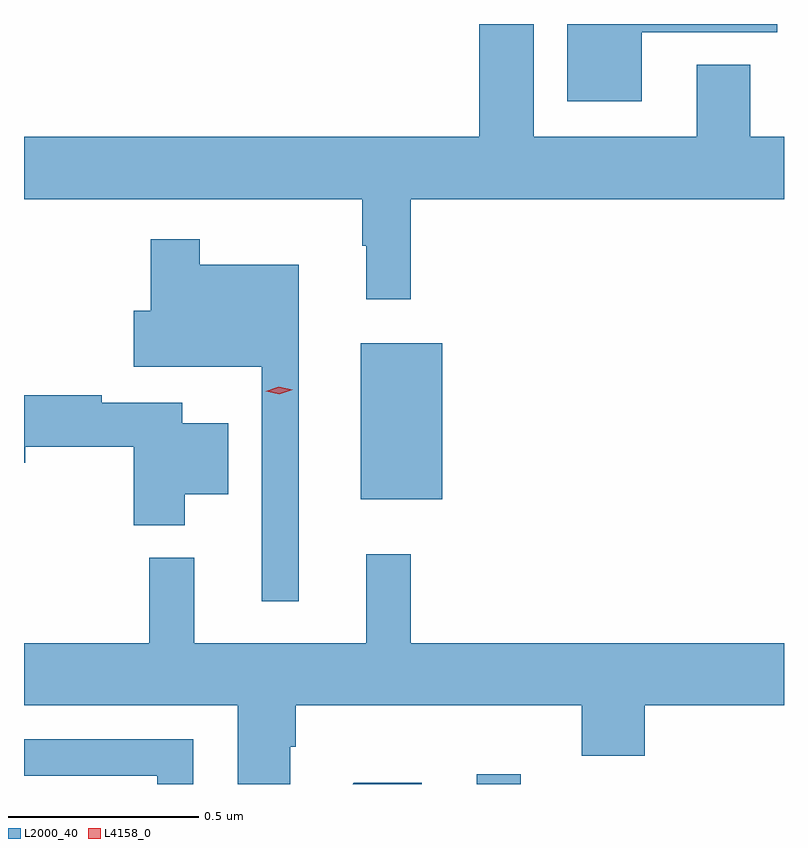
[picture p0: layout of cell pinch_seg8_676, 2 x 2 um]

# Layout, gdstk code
import gdstk
lib = gdstk.Library(unit=1e-6, precision=1e-09)
def R(c, l, rs):  # rectangles x0, y0, x1, y1
    for r in rs: c.add(gdstk.rectangle(r[:2], r[2:], *l))
def P(c, l, *ps):  # polygons
    for p in ps: c.add(gdstk.Polygon(p, *l))
L2000_40 = (2000, 40)
L4158_0 = (4158, 0)

pinch_seg8_676 = lib.new_cell('pinch_seg8_676')
R(pinch_seg8_676, L2000_40, [(365.159,1090.985,365.274,1091.011), (364.853,1091.735,365.068,1092.145)])
P(pinch_seg8_676, L2000_40, [(364.985,1092.524),(365.967,1092.524),(365.967,1092.688),(365.878,1092.688),(365.878,1092.878),(365.738,1092.878),(365.738,1092.688),(365.308,1092.688),(365.308,1092.985),(365.165,1092.985),(365.165,1092.688),(363.967,1092.688),(363.967,1092.524),(364.857,1092.524),(364.857,1092.401),(364.868,1092.401),(364.868,1092.261),(364.985,1092.261)],
  [(365.593,1092.963),(365.949,1092.963),(365.949,1092.985),(365.397,1092.985),(365.397,1092.782),(365.593,1092.782)],
  [(364.69,1092.352),(364.429,1092.352),(364.429,1092.418),(364.3,1092.418),(364.3,1092.231),(364.256,1092.231),(364.256,1092.083),(364.593,1092.083),(364.593,1091.466),(364.69,1091.466)],
  [(364.39,1091.747),(364.504,1091.747),(364.504,1091.935),(364.384,1091.935),(364.384,1091.988),(364.172,1091.988),(364.172,1092.008),(363.967,1092.008),(363.967,1091.83),(363.97,1091.83),(363.97,1091.872),(364.256,1091.872),(364.256,1091.666),(364.39,1091.666)],
  [(364.668,1091.083),(364.682,1091.083),(364.682,1091.192),(365.435,1091.192),(365.435,1091.059),(365.6,1091.059),(365.6,1091.192),(365.967,1091.192),(365.967,1091.356),(364.985,1091.356),(364.985,1091.59),(364.868,1091.59),(364.868,1091.356),(364.415,1091.356),(364.415,1091.581),(364.297,1091.581),(364.297,1091.356),(363.967,1091.356),(363.967,1091.192),(364.529,1091.192),(364.529,1090.985),(364.668,1090.985)],
  [(364.413,1091.103),(363.967,1091.103),(363.967,1091.007),(364.317,1091.007),(364.317,1090.985),(364.413,1090.985)],
  [(365.014,1090.988),(364.835,1090.988),(364.832,1090.985),(365.014,1090.985)])
P(pinch_seg8_676, L4158_0, [(364.639,1092.011),(364.603,1092.019),(364.603,1092.019),(364.603,1092.019),(364.638,1092.031),(364.674,1092.022),(364.674,1092.022),(364.674,1092.022)])

lib.write_gds('pinch_seg8_676.gds')
